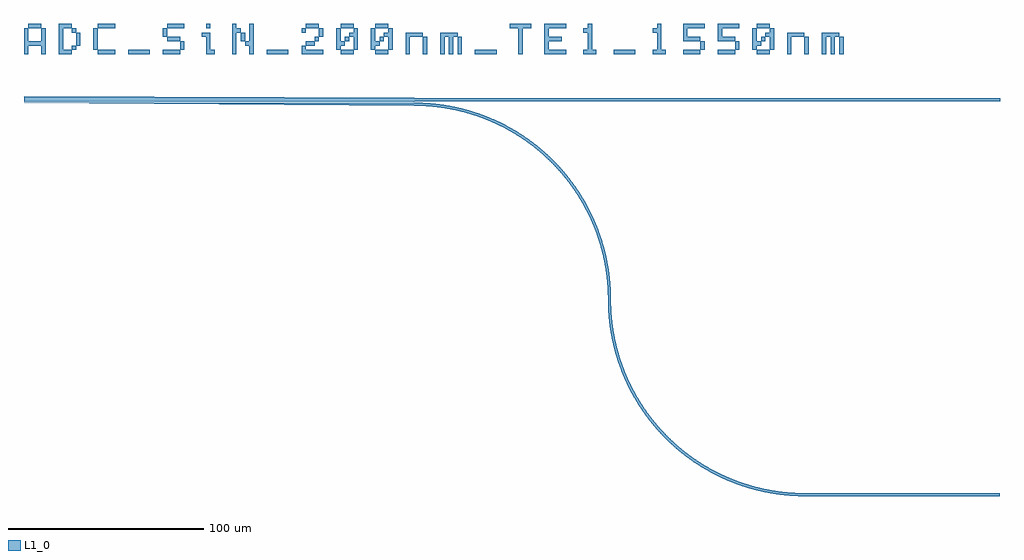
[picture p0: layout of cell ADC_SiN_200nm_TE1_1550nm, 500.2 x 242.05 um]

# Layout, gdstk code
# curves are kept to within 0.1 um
import gdstk
lib = gdstk.Library(unit=1e-6, precision=1e-09)
def R(c, l, rs):  # rectangles x0, y0, x1, y1
    for r in rs: c.add(gdstk.rectangle(r[:2], r[2:], *l))
def P(c, l, *ps):  # polygons
    for p in ps: c.add(gdstk.Polygon(p, *l))
L1_0 = (1, 0)

adc_sin_200nm_te1_1550nm = lib.new_cell('ADC_SiN_200nm_TE1_1550nm')
R(adc_sin_200nm_te1_1550nm, L1_0, [(400.05,-202.025,400.1,-200.563), (299.319,-101.294,300.781,-101.244), (299.319,-101.244,300.781,-101.194), (200,-1.925,200.05,-0.463), (24.444,26.667,26.667,28.889), (148.889,31.111,151.111,33.333), (164.444,31.111,166.667,33.333), (182.222,31.111,184.444,33.333), (377.778,31.111,380,33.333), (24.444,35.556,26.667,37.778), (142.222,35.556,144.444,37.778), (93.333,37.778,95.556,40)])
P(adc_sin_200nm_te1_1550nm, L1_0, [(0,24.444),(2.222,24.444),(2.222,26.667),(2.222,28.889),(4.444,28.889),(6.667,28.889),(8.889,28.889),(8.889,26.667),(8.889,24.444),(11.111,24.444),(11.111,26.667),(11.111,28.889),(11.111,31.111),(11.111,33.333),(11.111,35.556),(11.111,37.778),(8.889,37.778),(8.889,35.556),(8.889,33.333),(8.889,31.111),(6.667,31.111),(4.444,31.111),(2.222,31.111),(2.222,33.333),(2.222,35.556),(2.222,37.778),(0,37.778),(0,35.556),(0,33.333),(0,31.111),(0,28.889),(0,26.667)],
  [(2.222,37.778),(4.444,37.778),(6.667,37.778),(8.889,37.778),(8.889,40),(6.667,40),(4.444,40),(2.222,40)],
  [(17.778,24.444),(20,24.444),(22.222,24.444),(24.444,24.444),(24.444,26.667),(22.222,26.667),(20,26.667),(20,28.889),(20,31.111),(20,33.333),(20,35.556),(20,37.778),(22.222,37.778),(24.444,37.778),(24.444,40),(22.222,40),(20,40),(17.778,40),(17.778,37.778),(17.778,35.556),(17.778,33.333),(17.778,31.111),(17.778,28.889),(17.778,26.667)],
  [(26.667,28.889),(28.889,28.889),(28.889,31.111),(28.889,33.333),(28.889,35.556),(26.667,35.556),(26.667,33.333),(26.667,31.111)],
  [(35.556,26.667),(37.778,26.667),(37.778,28.889),(37.778,31.111),(37.778,33.333),(37.778,35.556),(37.778,37.778),(35.556,37.778),(35.556,35.556),(35.556,33.333),(35.556,31.111),(35.556,28.889)],
  [(37.778,24.444),(40,24.444),(42.222,24.444),(44.444,24.444),(46.667,24.444),(46.667,26.667),(44.444,26.667),(42.222,26.667),(40,26.667),(37.778,26.667)],
  [(37.778,37.778),(40,37.778),(42.222,37.778),(44.444,37.778),(46.667,37.778),(46.667,40),(44.444,40),(42.222,40),(40,40),(37.778,40)],
  [(53.333,24.444),(55.556,24.444),(57.778,24.444),(60,24.444),(62.222,24.444),(64.444,24.444),(64.444,26.667),(62.222,26.667),(60,26.667),(57.778,26.667),(55.556,26.667),(53.333,26.667)],
  [(71.111,24.444),(73.333,24.444),(75.556,24.444),(77.778,24.444),(80,24.444),(80,26.667),(77.778,26.667),(75.556,26.667),(73.333,26.667),(71.111,26.667)],
  [(71.111,33.333),(73.333,33.333),(73.333,35.556),(73.333,37.778),(71.111,37.778),(71.111,35.556)],
  [(73.333,31.111),(75.556,31.111),(77.778,31.111),(80,31.111),(80,33.333),(77.778,33.333),(75.556,33.333),(73.333,33.333)],
  [(73.333,37.778),(75.556,37.778),(77.778,37.778),(80,37.778),(82.222,37.778),(82.222,40),(80,40),(77.778,40),(75.556,40),(73.333,40)],
  [(80,26.667),(82.222,26.667),(82.222,28.889),(82.222,31.111),(80,31.111),(80,28.889)],
  [(91.111,33.333),(93.333,33.333),(93.333,31.111),(93.333,28.889),(93.333,26.667),(93.333,24.444),(95.556,24.444),(97.778,24.444),(97.778,26.667),(95.556,26.667),(95.556,28.889),(95.556,31.111),(95.556,33.333),(95.556,35.556),(93.333,35.556),(91.111,35.556)],
  [(106.667,24.444),(108.889,24.444),(108.889,26.667),(108.889,28.889),(108.889,31.111),(108.889,33.333),(108.889,35.556),(111.111,35.556),(111.111,37.778),(108.889,37.778),(108.889,40),(106.667,40),(106.667,37.778),(106.667,35.556),(106.667,33.333),(106.667,31.111),(106.667,28.889),(106.667,26.667)],
  [(111.111,31.111),(113.333,31.111),(113.333,33.333),(113.333,35.556),(111.111,35.556),(111.111,33.333)],
  [(113.333,28.889),(115.556,28.889),(115.556,26.667),(115.556,24.444),(117.778,24.444),(117.778,26.667),(117.778,28.889),(117.778,31.111),(117.778,33.333),(117.778,35.556),(117.778,37.778),(117.778,40),(115.556,40),(115.556,37.778),(115.556,35.556),(115.556,33.333),(115.556,31.111),(113.333,31.111)],
  [(124.444,24.444),(126.667,24.444),(128.889,24.444),(131.111,24.444),(133.333,24.444),(135.556,24.444),(135.556,26.667),(133.333,26.667),(131.111,26.667),(128.889,26.667),(126.667,26.667),(124.444,26.667)],
  [(142.222,24.444),(144.444,24.444),(146.667,24.444),(148.889,24.444),(151.111,24.444),(153.333,24.444),(153.333,26.667),(151.111,26.667),(148.889,26.667),(146.667,26.667),(144.444,26.667),(144.444,28.889),(142.222,28.889),(142.222,26.667)],
  [(144.444,28.889),(146.667,28.889),(148.889,28.889),(148.889,31.111),(146.667,31.111),(144.444,31.111)],
  [(144.444,37.778),(146.667,37.778),(148.889,37.778),(151.111,37.778),(151.111,40),(148.889,40),(146.667,40),(144.444,40)],
  [(151.111,33.333),(153.333,33.333),(153.333,35.556),(153.333,37.778),(151.111,37.778),(151.111,35.556)],
  [(160,26.667),(162.222,26.667),(162.222,28.889),(164.444,28.889),(164.444,31.111),(162.222,31.111),(162.222,33.333),(162.222,35.556),(162.222,37.778),(160,37.778),(160,35.556),(160,33.333),(160,31.111),(160,28.889)],
  [(162.222,24.444),(164.444,24.444),(166.667,24.444),(168.889,24.444),(168.889,26.667),(166.667,26.667),(164.444,26.667),(162.222,26.667)],
  [(162.222,37.778),(164.444,37.778),(166.667,37.778),(168.889,37.778),(168.889,40),(166.667,40),(164.444,40),(162.222,40)],
  [(166.667,33.333),(168.889,33.333),(168.889,31.111),(168.889,28.889),(168.889,26.667),(171.111,26.667),(171.111,28.889),(171.111,31.111),(171.111,33.333),(171.111,35.556),(171.111,37.778),(168.889,37.778),(168.889,35.556),(166.667,35.556)],
  [(177.778,26.667),(180,26.667),(180,28.889),(182.222,28.889),(182.222,31.111),(180,31.111),(180,33.333),(180,35.556),(180,37.778),(177.778,37.778),(177.778,35.556),(177.778,33.333),(177.778,31.111),(177.778,28.889)],
  [(180,24.444),(182.222,24.444),(184.444,24.444),(186.667,24.444),(186.667,26.667),(184.444,26.667),(182.222,26.667),(180,26.667)],
  [(180,37.778),(182.222,37.778),(184.444,37.778),(186.667,37.778),(186.667,40),(184.444,40),(182.222,40),(180,40)],
  [(184.444,33.333),(186.667,33.333),(186.667,31.111),(186.667,28.889),(186.667,26.667),(188.889,26.667),(188.889,28.889),(188.889,31.111),(188.889,33.333),(188.889,35.556),(188.889,37.778),(186.667,37.778),(186.667,35.556),(184.444,35.556)],
  [(195.556,24.444),(197.778,24.444),(197.778,26.667),(197.778,28.889),(197.778,31.111),(197.778,33.333),(200,33.333),(202.222,33.333),(204.444,33.333),(204.444,35.556),(202.222,35.556),(200,35.556),(197.778,35.556),(195.556,35.556),(195.556,33.333),(195.556,31.111),(195.556,28.889),(195.556,26.667)],
  [(204.444,24.444),(206.667,24.444),(206.667,26.667),(206.667,28.889),(206.667,31.111),(206.667,33.333),(204.444,33.333),(204.444,31.111),(204.444,28.889),(204.444,26.667)],
  [(213.333,24.444),(215.556,24.444),(215.556,26.667),(215.556,28.889),(215.556,31.111),(215.556,33.333),(217.778,33.333),(217.778,31.111),(217.778,28.889),(217.778,26.667),(217.778,24.444),(220,24.444),(220,26.667),(220,28.889),(220,31.111),(220,33.333),(222.222,33.333),(222.222,35.556),(220,35.556),(217.778,35.556),(215.556,35.556),(213.333,35.556),(213.333,33.333),(213.333,31.111),(213.333,28.889),(213.333,26.667)],
  [(222.222,24.444),(224.444,24.444),(224.444,26.667),(224.444,28.889),(224.444,31.111),(224.444,33.333),(222.222,33.333),(222.222,31.111),(222.222,28.889),(222.222,26.667)],
  [(231.111,24.444),(233.333,24.444),(235.556,24.444),(237.778,24.444),(240,24.444),(242.222,24.444),(242.222,26.667),(240,26.667),(237.778,26.667),(235.556,26.667),(233.333,26.667),(231.111,26.667)],
  [(248.889,37.778),(251.111,37.778),(253.333,37.778),(253.333,35.556),(253.333,33.333),(253.333,31.111),(253.333,28.889),(253.333,26.667),(253.333,24.444),(255.556,24.444),(255.556,26.667),(255.556,28.889),(255.556,31.111),(255.556,33.333),(255.556,35.556),(255.556,37.778),(257.778,37.778),(260,37.778),(260,40),(257.778,40),(255.556,40),(253.333,40),(251.111,40),(248.889,40)],
  [(266.667,24.444),(268.889,24.444),(271.111,24.444),(273.333,24.444),(275.556,24.444),(277.778,24.444),(277.778,26.667),(275.556,26.667),(273.333,26.667),(271.111,26.667),(268.889,26.667),(268.889,28.889),(268.889,31.111),(271.111,31.111),(273.333,31.111),(275.556,31.111),(275.556,33.333),(273.333,33.333),(271.111,33.333),(268.889,33.333),(268.889,35.556),(268.889,37.778),(271.111,37.778),(273.333,37.778),(275.556,37.778),(277.778,37.778),(277.778,40),(275.556,40),(273.333,40),(271.111,40),(268.889,40),(266.667,40),(266.667,37.778),(266.667,35.556),(266.667,33.333),(266.667,31.111),(266.667,28.889),(266.667,26.667)],
  [(286.667,24.444),(288.889,24.444),(291.111,24.444),(293.333,24.444),(293.333,26.667),(291.111,26.667),(291.111,28.889),(291.111,31.111),(291.111,33.333),(291.111,35.556),(291.111,37.778),(291.111,40),(288.889,40),(288.889,37.778),(286.667,37.778),(286.667,35.556),(288.889,35.556),(288.889,33.333),(288.889,31.111),(288.889,28.889),(288.889,26.667),(286.667,26.667)],
  [(302.222,24.444),(304.444,24.444),(306.667,24.444),(308.889,24.444),(311.111,24.444),(313.333,24.444),(313.333,26.667),(311.111,26.667),(308.889,26.667),(306.667,26.667),(304.444,26.667),(302.222,26.667)],
  [(322.222,24.444),(324.444,24.444),(326.667,24.444),(328.889,24.444),(328.889,26.667),(326.667,26.667),(326.667,28.889),(326.667,31.111),(326.667,33.333),(326.667,35.556),(326.667,37.778),(326.667,40),(324.444,40),(324.444,37.778),(322.222,37.778),(322.222,35.556),(324.444,35.556),(324.444,33.333),(324.444,31.111),(324.444,28.889),(324.444,26.667),(322.222,26.667)],
  [(337.778,24.444),(340,24.444),(342.222,24.444),(344.444,24.444),(346.667,24.444),(346.667,26.667),(344.444,26.667),(342.222,26.667),(340,26.667),(337.778,26.667)],
  [(337.778,31.111),(340,31.111),(342.222,31.111),(344.444,31.111),(346.667,31.111),(346.667,33.333),(344.444,33.333),(342.222,33.333),(340,33.333),(340,35.556),(340,37.778),(342.222,37.778),(344.444,37.778),(346.667,37.778),(348.889,37.778),(348.889,40),(346.667,40),(344.444,40),(342.222,40),(340,40),(337.778,40),(337.778,37.778),(337.778,35.556),(337.778,33.333)],
  [(346.667,26.667),(348.889,26.667),(348.889,28.889),(348.889,31.111),(346.667,31.111),(346.667,28.889)],
  [(355.556,24.444),(357.778,24.444),(360,24.444),(362.222,24.444),(364.444,24.444),(364.444,26.667),(362.222,26.667),(360,26.667),(357.778,26.667),(355.556,26.667)],
  [(355.556,31.111),(357.778,31.111),(360,31.111),(362.222,31.111),(364.444,31.111),(364.444,33.333),(362.222,33.333),(360,33.333),(357.778,33.333),(357.778,35.556),(357.778,37.778),(360,37.778),(362.222,37.778),(364.444,37.778),(366.667,37.778),(366.667,40),(364.444,40),(362.222,40),(360,40),(357.778,40),(355.556,40),(355.556,37.778),(355.556,35.556),(355.556,33.333)],
  [(364.444,26.667),(366.667,26.667),(366.667,28.889),(366.667,31.111),(364.444,31.111),(364.444,28.889)],
  [(373.333,26.667),(375.556,26.667),(375.556,28.889),(377.778,28.889),(377.778,31.111),(375.556,31.111),(375.556,33.333),(375.556,35.556),(375.556,37.778),(373.333,37.778),(373.333,35.556),(373.333,33.333),(373.333,31.111),(373.333,28.889)],
  [(375.556,24.444),(377.778,24.444),(380,24.444),(382.222,24.444),(382.222,26.667),(380,26.667),(377.778,26.667),(375.556,26.667)],
  [(375.556,37.778),(377.778,37.778),(380,37.778),(382.222,37.778),(382.222,40),(380,40),(377.778,40),(375.556,40)],
  [(380,33.333),(382.222,33.333),(382.222,31.111),(382.222,28.889),(382.222,26.667),(384.444,26.667),(384.444,28.889),(384.444,31.111),(384.444,33.333),(384.444,35.556),(384.444,37.778),(382.222,37.778),(382.222,35.556),(380,35.556)],
  [(391.111,24.444),(393.333,24.444),(393.333,26.667),(393.333,28.889),(393.333,31.111),(393.333,33.333),(395.556,33.333),(397.778,33.333),(400,33.333),(400,35.556),(397.778,35.556),(395.556,35.556),(393.333,35.556),(391.111,35.556),(391.111,33.333),(391.111,31.111),(391.111,28.889),(391.111,26.667)],
  [(400,24.444),(402.222,24.444),(402.222,26.667),(402.222,28.889),(402.222,31.111),(402.222,33.333),(400,33.333),(400,31.111),(400,28.889),(400,26.667)],
  [(408.889,24.444),(411.111,24.444),(411.111,26.667),(411.111,28.889),(411.111,31.111),(411.111,33.333),(413.333,33.333),(413.333,31.111),(413.333,28.889),(413.333,26.667),(413.333,24.444),(415.556,24.444),(415.556,26.667),(415.556,28.889),(415.556,31.111),(415.556,33.333),(417.778,33.333),(417.778,35.556),(415.556,35.556),(413.333,35.556),(411.111,35.556),(408.889,35.556),(408.889,33.333),(408.889,31.111),(408.889,28.889),(408.889,26.667)],
  [(417.778,24.444),(420,24.444),(420,26.667),(420,28.889),(420,31.111),(420,33.333),(417.778,33.333),(417.778,31.111),(417.778,28.889),(417.778,26.667)],
  [(0,0),(0,3),(200,2),(200,0)],
  [(0,-0.463),(0,-0.463),(200,-1.925),(200,-0.463)],
  [(300.781,-101.194),(300.651,-96.083),(300.291,-91.268),(299.7,-86.475),(298.825,-81.438),(297.764,-76.727),(296.48,-72.072),(294.878,-67.217),(293.032,-62.449),(290.946,-57.781),(288.761,-53.475),(286.372,-49.279),(283.785,-45.201),(280.836,-41.025),(277.86,-37.222),(274.705,-33.567),(271.378,-30.067),(267.677,-26.539),(264.022,-23.384),(260.219,-20.408),(256.279,-17.617),(252.209,-15.019),(247.769,-12.483),(243.463,-10.298),(238.795,-8.212),(234.027,-6.366),(229.172,-4.764),(224.517,-3.48),(219.806,-2.419),(214.769,-1.544),(209.976,-0.953),(205.161,-0.593),(200.05,-0.463),(200.05,-1.925),(205.366,-2.067),(210.111,-2.436),(215.109,-3.074),(220.068,-3.964),(224.976,-5.105),(230.086,-6.578),(234.848,-8.224),(239.521,-10.109),(243.337,-11.86),(247.569,-14.037),(251.452,-16.269),(255.695,-18.987),(259.794,-21.916),(263.525,-24.87),(266.903,-27.811),(270.145,-30.901),(273.433,-34.341),(276.374,-37.719),(279.328,-41.45),(282.1,-45.318),(284.537,-49.076),(286.937,-53.184),(289.138,-57.404),(291.135,-61.723),(293.02,-66.396),(294.666,-71.158),(296.139,-76.268),(297.28,-81.176),(298.17,-86.135),(298.808,-91.133),(299.177,-95.878),(299.319,-101.194)],
  [(299.319,-101.294),(299.449,-106.405),(299.809,-111.22),(300.4,-116.013),(301.275,-121.05),(302.336,-125.761),(303.62,-130.416),(305.222,-135.271),(307.068,-140.039),(309.154,-144.707),(311.339,-149.013),(313.728,-153.209),(316.315,-157.287),(319.264,-161.463),(322.24,-165.266),(325.395,-168.921),(328.722,-172.421),(332.423,-175.949),(336.078,-179.104),(339.881,-182.08),(343.821,-184.871),(347.891,-187.469),(352.331,-190.005),(356.637,-192.19),(361.305,-194.276),(366.073,-196.122),(370.928,-197.724),(375.583,-199.008),(380.294,-200.069),(385.331,-200.944),(390.124,-201.535),(394.939,-201.895),(400.05,-202.025),(400.05,-200.563),(394.734,-200.421),(389.989,-200.052),(384.991,-199.414),(380.032,-198.524),(375.124,-197.383),(370.014,-195.91),(365.252,-194.264),(360.579,-192.379),(356.763,-190.628),(352.531,-188.451),(348.648,-186.219),(344.405,-183.501),(340.306,-180.572),(336.575,-177.618),(333.197,-174.677),(329.955,-171.587),(326.667,-168.147),(323.726,-164.769),(320.772,-161.038),(318,-157.17),(315.563,-153.412),(313.163,-149.304),(310.962,-145.084),(308.965,-140.765),(307.08,-136.092),(305.434,-131.33),(303.961,-126.22),(302.82,-121.312),(301.93,-116.353),(301.292,-111.355),(300.923,-106.61),(300.781,-101.294)],
  [(400.1,-202.025),(500.1,-202.054),(500.1,-200.534),(400.1,-200.563)],
  [(200,0),(500.2,0.24),(500.2,1.76),(200,2)])

lib.write_gds('ADC_SiN_200nm_TE1_1550nm.gds')
